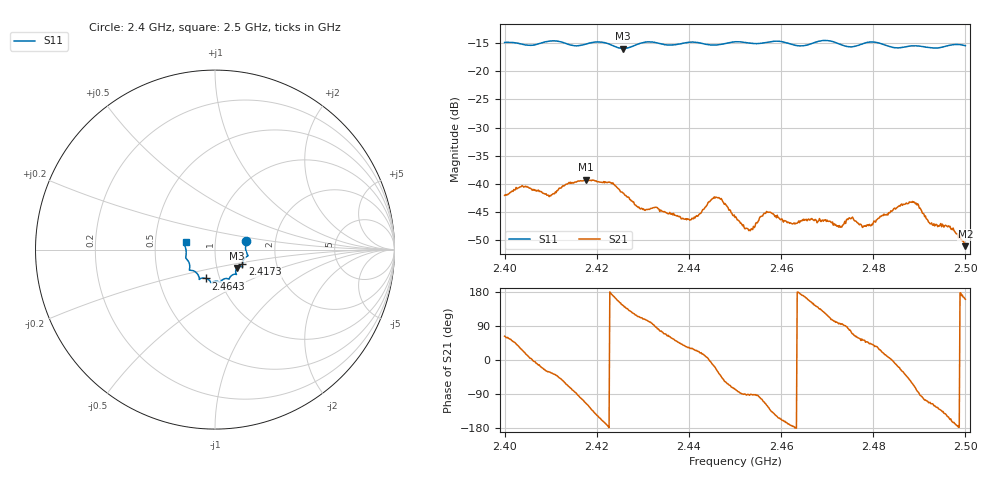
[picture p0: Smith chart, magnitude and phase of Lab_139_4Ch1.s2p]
# Hz S RI R 50
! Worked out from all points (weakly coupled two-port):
!   601 points, 2.4 GHz to 2.5 GHz, reference 50 ohm
!   highest |S21| = -39.26 dB at 2.4177 GHz (marker M1); lowest = -51.1 dB at 2.5 GHz (marker M2)
!   lowest |S11| = -15.9 dB at 2.4257 GHz (marker M3), VSWR 1.38, Z = 62.5 - j13.1 ohm
!   |S11| at or under -10 dB: start of sweep to end of sweep
!   S12 and S22 are empty: the file has one direction only
!   S11 on the Smith chart (normalised r, x): 2.4 GHz: 1.41, +0.14; 2.4173 GHz: 1.34, -0.23; 2.4643 GHz: 0.86, -0.28; 2.5 GHz: 0.72, +0.06
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2.4e9  0.1736 0.0491  0.00359 0.00704  0 0  0 0
2.404167e9  0.1713 0.0235  0.0087 0.00342  0 0  0 0
2.409833e9  0.1832 -0.0319  0.00668 -0.00416  0 0  0 0
2.416667e9  0.1535 -0.0747  -0.00218 -0.0104  0 0  0 0
2.417333e9  0.1525 -0.0823  -0.00376 -0.01  0 0  0 0
2.417667e9  0.1525 -0.0857  -0.00452 -0.0099  0 0  0 0
2.425667e9  0.1227 -0.1019  -0.00672 0.00486  0 0  0 0
2.4295e9  0.1171 -0.134  -0.00222 0.00554  0 0  0 0
2.433333e9  0.1131 -0.1371  0.000831 0.00594  0 0  0 0
2.4405e9  0.0788 -0.1642  0.00416 0.0024  0 0  0 0
2.446e9  0.0476 -0.1647  0.00682 -0.00332  0 0  0 0
2.45e9  0.0294 -0.1807  0.0011 -0.0049  0 0  0 0
2.453333e9  0.0154 -0.1771  -3.98e-05 -0.00383  0 0  0 0
2.457167e9  -0.0143 -0.1814  -0.00312 -0.00463  0 0  0 0
2.464333e9  -0.05 -0.1607  -0.00463 0.000573  0 0  0 0
2.466667e9  -0.076 -0.1597  -0.00432 0.00234  0 0  0 0
2.478e9  -0.1349 -0.1158  0.00258 0.00335  0 0  0 0
2.483333e9  -0.1406 -0.0901  0.0055 0.000651  0 0  0 0
2.488833e9  -0.1622 -0.0464  0.00264 -0.00638  0 0  0 0
2.4925e9  -0.1606 -0.0198  -0.00189 -0.00399  0 0  0 0
2.496833e9  -0.1694 0.0253  -0.00361 -0.00164  0 0  0 0
2.5e9  -0.1639 0.0418  -0.00263 0.000943  0 0  0 0
